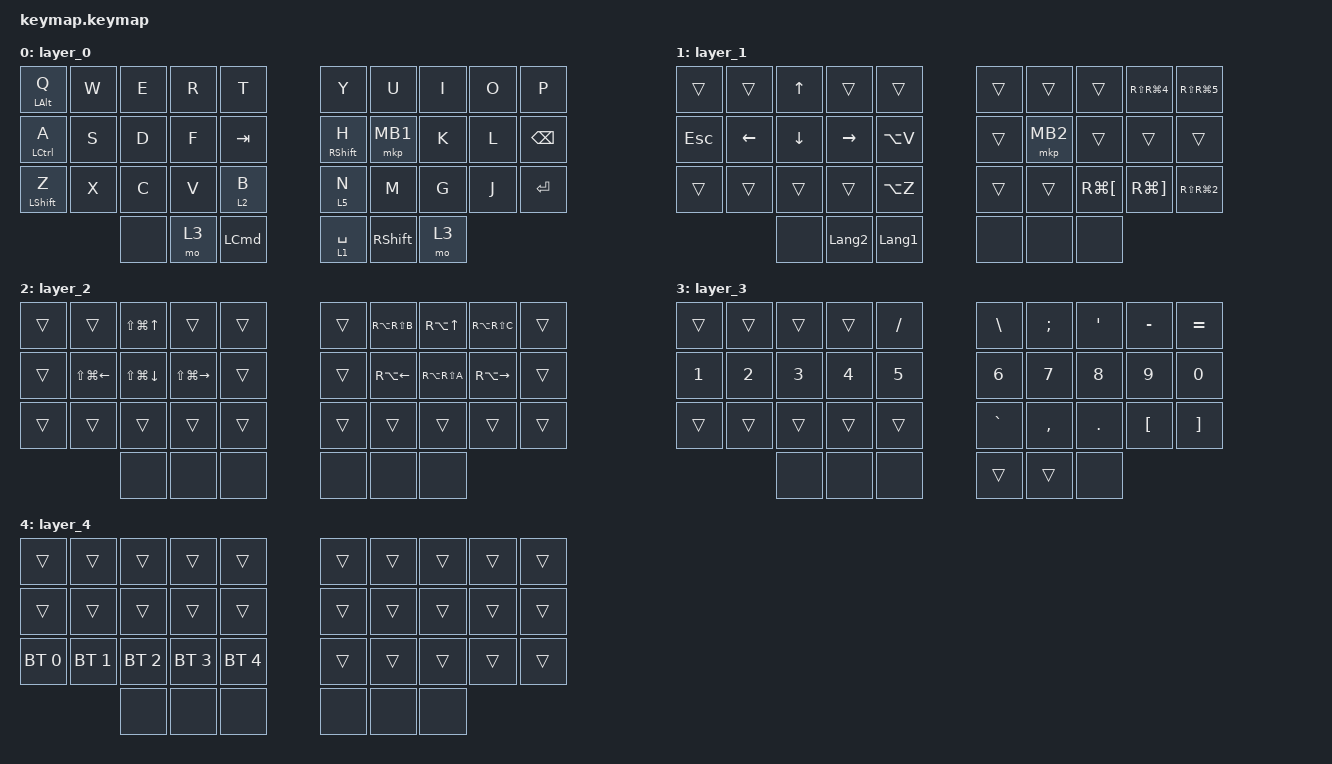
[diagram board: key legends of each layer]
#include <behaviors.dtsi>
#include <dt-bindings/zmk/bt.h>
#include <dt-bindings/zmk/keys.h>
#include <dt-bindings/zmk/pointing.h>

&mt {
    flavor = "tap-preferred";
    quick-tap-ms = <0>;
    tapping-term-ms = <300>;
};

/ {
    keymap {
        compatible = "zmk,keymap";

        layer_0 {
            bindings = <
&mt LEFT_ALT Q      &kp W  &kp E  &kp R  &kp T             &kp Y              &kp U            &kp I  &kp O  &kp P
&mt LEFT_CONTROL A  &kp S  &kp D  &kp F  &kp TAB           &mt RIGHT_SHIFT H  &mkp MB1         &kp K  &kp L  &kp BACKSPACE
&mt LEFT_SHIFT Z    &kp X  &kp C  &kp V  &lt 2 B           &lt 5 N            &kp M            &kp G  &kp J  &kp RETURN
&none                             &mo 3  &kp LEFT_COMMAND  &lt 1 SPACE        &kp RIGHT_SHIFT                &mo 3
            >;
        };

        layer_1 {
            bindings = <
&trans      &trans          &kp UP_ARROW    &trans           &trans          &trans  &trans    &trans                &kp RS(RG(NUMBER_4))   &kp RS(RG(N5))
&kp ESCAPE  &kp LEFT_ARROW  &kp DOWN_ARROW  &kp RIGHT_ARROW  &kp LA(V)       &trans  &mkp MB2  &trans                &trans                 &trans
&trans      &trans          &trans          &trans           &kp LA(Z)       &trans  &trans    &kp RG(LEFT_BRACKET)  &kp RG(RIGHT_BRACKET)  &kp RS(RG(NUMBER_2))
&none                                       &kp LANGUAGE_2   &kp LANGUAGE_1  &none   &none                                                  &none
            >;
        };

        layer_2 {
            bindings = <
&trans  &trans                  &kp LS(LG(UP_ARROW))    &trans                   &trans  &trans  &kp RA(RS(B))       &kp RA(UP_ARROW)  &kp RA(RS(C))        &trans
&trans  &kp LS(LG(LEFT_ARROW))  &kp LS(LG(DOWN_ARROW))  &kp LS(LG(RIGHT_ARROW))  &trans  &trans  &kp RA(LEFT_ARROW)  &kp RA(RS(A))     &kp RA(RIGHT_ARROW)  &trans
&trans  &trans                  &trans                  &trans                   &trans  &trans  &trans              &trans            &trans               &trans
&none                                                   &none                    &none   &none   &none                                                      &none
            >;
        };

        layer_3 {
            bindings = <
&trans        &trans        &trans        &trans        &kp SLASH  &kp BACKSLASH  &kp SEMI   &kp SQT     &kp MINUS         &kp EQUAL
&kp NUMBER_1  &kp NUMBER_2  &kp NUMBER_3  &kp NUMBER_4  &kp N5     &kp NUMBER_6   &kp N7     &kp N8      &kp N9            &kp N0
&trans        &trans        &trans        &trans        &trans     &kp GRAVE      &kp COMMA  &kp PERIOD  &kp LEFT_BRACKET  &kp RIGHT_BRACKET
&none                                     &none         &none      &trans         &trans                                   &none
            >;
        };

        layer_4 {
            bindings = <
&trans        &trans        &trans        &trans        &trans        &trans  &trans  &trans  &trans  &trans
&trans        &trans        &trans        &trans        &trans        &trans  &trans  &trans  &trans  &trans
&bt BT_SEL 0  &bt BT_SEL 1  &bt BT_SEL 2  &bt BT_SEL 3  &bt BT_SEL 4  &trans  &trans  &trans  &trans  &trans
&none                                     &none         &none         &none   &none                   &none
            >;
        };
    };
};
